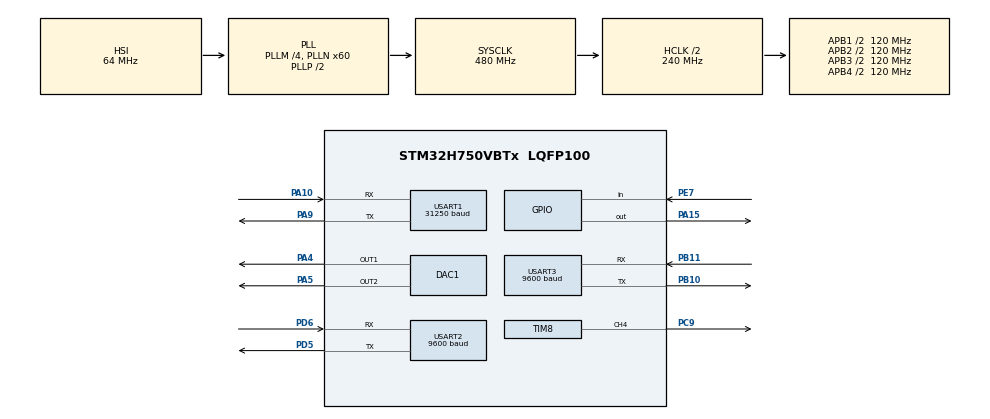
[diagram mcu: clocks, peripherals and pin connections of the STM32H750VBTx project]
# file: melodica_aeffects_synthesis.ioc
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CORTEX_M7.default_mode_Activation=1
DAC1.DAC_Channel-DAC_OUT1=DAC_CHANNEL_1
DAC1.DAC_Channel-DAC_OUT2=DAC_CHANNEL_2
DAC1.DAC_Trigger-DAC_OUT1=DAC_TRIGGER_T8_TRGO
DAC1.DAC_Trigger-DAC_OUT2=DAC_TRIGGER_T8_TRGO
Dma.DAC1_CH1.0.Direction=DMA_MEMORY_TO_PERIPH
Dma.DAC1_CH1.0.EventEnable=DISABLE
Dma.DAC1_CH1.0.FIFOMode=DMA_FIFOMODE_DISABLE
Dma.DAC1_CH1.0.Instance=DMA1_Stream0
Dma.DAC1_CH1.0.MemDataAlignment=DMA_MDATAALIGN_HALFWORD
Dma.DAC1_CH1.0.MemInc=DMA_MINC_ENABLE
Dma.DAC1_CH1.0.Mode=DMA_CIRCULAR
Dma.DAC1_CH1.0.PeriphDataAlignment=DMA_PDATAALIGN_HALFWORD
Dma.DAC1_CH1.0.PeriphInc=DMA_PINC_DISABLE
Dma.DAC1_CH1.0.Polarity=HAL_DMAMUX_REQ_GEN_RISING
Dma.DAC1_CH1.0.Priority=DMA_PRIORITY_HIGH
Dma.DAC1_CH1.0.RequestNumber=1
Dma.DAC1_CH1.0.SignalID=NONE
Dma.DAC1_CH1.0.SyncEnable=DISABLE
Dma.DAC1_CH1.0.SyncPolarity=HAL_DMAMUX_SYNC_NO_EVENT
Dma.DAC1_CH1.0.SyncRequestNumber=1
Dma.DAC1_CH1.0.SyncSignalID=NONE
Dma.DAC1_CH2.1.Direction=DMA_MEMORY_TO_PERIPH
Dma.DAC1_CH2.1.EventEnable=DISABLE
Dma.DAC1_CH2.1.FIFOMode=DMA_FIFOMODE_DISABLE
Dma.DAC1_CH2.1.Instance=DMA1_Stream1
Dma.DAC1_CH2.1.MemDataAlignment=DMA_MDATAALIGN_HALFWORD
Dma.DAC1_CH2.1.MemInc=DMA_MINC_ENABLE
Dma.DAC1_CH2.1.Mode=DMA_CIRCULAR
Dma.DAC1_CH2.1.PeriphDataAlignment=DMA_PDATAALIGN_HALFWORD
Dma.DAC1_CH2.1.PeriphInc=DMA_PINC_DISABLE
Dma.DAC1_CH2.1.Polarity=HAL_DMAMUX_REQ_GEN_RISING
Dma.DAC1_CH2.1.Priority=DMA_PRIORITY_HIGH
Dma.DAC1_CH2.1.RequestNumber=1
Dma.DAC1_CH2.1.SignalID=NONE
Dma.DAC1_CH2.1.SyncEnable=DISABLE
Dma.DAC1_CH2.1.SyncPolarity=HAL_DMAMUX_SYNC_NO_EVENT
Dma.DAC1_CH2.1.SyncRequestNumber=1
Dma.DAC1_CH2.1.SyncSignalID=NONE
Dma.Request0=DAC1_CH1
Dma.Request1=DAC1_CH2
Mcu.Family=STM32H7
Mcu.Name=STM32H750VBTx
Mcu.Package=LQFP100
NVIC.DMA1_Stream0_IRQn=true\:0\:0\:false\:false\:true\:false\:true\:true
NVIC.DMA1_Stream1_IRQn=true\:0\:0\:false\:false\:true\:false\:true\:true
NVIC.PriorityGroup=NVIC_PRIORITYGROUP_4
NVIC.USART1_IRQn=true\:5\:0\:true\:false\:true\:true\:true\:true
NVIC.USART2_IRQn=true\:5\:0\:true\:false\:true\:true\:true\:true
NVIC.USART3_IRQn=true\:5\:0\:true\:false\:true\:true\:true\:true
PA10.Mode=Asynchronous
PA10.Signal=USART1_RX
PA13\ (JTMS/SWDIO).Signal=DEBUG_JTMS-SWDIO
PA14\ (JTCK/SWCLK).Signal=DEBUG_JTCK-SWCLK
PA15\ (JTDI).Signal=GPIO_Output
PA4.Signal=COMP_DAC11_group
PA5.Signal=COMP_DAC12_group
PA9.Mode=Asynchronous
PA9.Signal=USART1_TX
PB10.Mode=Asynchronous
PB10.Signal=USART3_TX
PB11.Mode=Asynchronous
PB11.Signal=USART3_RX
PC9.Signal=S_TIM8_CH4
PD5.Mode=Asynchronous
PD5.Signal=USART2_TX
PD6.Mode=Asynchronous
PD6.Signal=USART2_RX
PE7.GPIO_PuPd=GPIO_PULLDOWN
PE7.Signal=GPIO_Input
ProjectManager.HeapSize=0x200
ProjectManager.StackSize=0x400
ProjectManager.TargetToolchain=STM32CubeIDE
RCC.ADCFreq_Value=129000000
RCC.APB1Freq_Value=120000000
RCC.APB2Freq_Value=120000000
RCC.APB3Freq_Value=120000000
RCC.APB4Freq_Value=120000000
RCC.CortexFreq_Value=480000000
RCC.D1PPRE=RCC_APB3_DIV2
RCC.D2PPRE1=RCC_APB1_DIV2
RCC.D2PPRE2=RCC_APB2_DIV2
RCC.D3PPRE=RCC_APB4_DIV2
RCC.DIVM1=4
RCC.DIVN1=60
RCC.HCLKFreq_Value=240000000
RCC.HPRE=RCC_HCLK_DIV2
RCC.PLL2FRACN=0
RCC.PLL3FRACN=0
RCC.PLLFRACN=0
RCC.SYSCLKFreq_VALUE=480000000
RCC.SYSCLKSource=RCC_SYSCLKSOURCE_PLLCLK
RCC.USBFreq_Value=480000000
SH.COMP_DAC11_group.0=DAC1_OUT1,DAC_OUT1
SH.COMP_DAC12_group.0=DAC1_OUT2,DAC_OUT2
SH.S_TIM8_CH4.0=TIM8_CH4,PWM Generation4 CH4
TIM8.Channel-PWM\ Generation4\ CH4=TIM_CHANNEL_4
TIM8.Period=5713
TIM8.TIM_MasterOutputTrigger=TIM_TRGO_UPDATE
USART1.BaudRate=31250
USART1.VirtualMode-Asynchronous=VM_ASYNC
USART2.BaudRate=9600
USART2.VirtualMode-Asynchronous=VM_ASYNC
USART3.BaudRate=9600
USART3.VirtualMode-Asynchronous=VM_ASYNC
VP_MEMORYMAP_VS_MEMORYMAP.Mode=CurAppReg
VP_TIM8_VS_ClockSourceINT.Mode=Internal
VREF+.Mode=InternalMode
VREF+.Signal=VREFBUF_OUT
board=custom

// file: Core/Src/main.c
/* USER CODE BEGIN Header */
/**
  ******************************************************************************
  * @file           : main.c
  * @brief          : Main program body
  ******************************************************************************
  * @attention
  *
  * Copyright (c) 2025 STMicroelectronics.
  * All rights reserved.
  *
  * This software is licensed under terms that can be found in the LICENSE file
  * in the root directory of this software component.
  * If no LICENSE file comes with this software, it is provided AS-IS.
  *
  ******************************************************************************
  */
/* USER CODE END Header */
#include "main.h"

/* USER CODE BEGIN Includes */
#include "audio.h"
#include "midi.h"
#include "controlstate.h"
#include "protocol.h"
#include "signal.h"
#include <stdlib.h>
/* USER CODE END Includes */

DAC_HandleTypeDef hdac1;
DMA_HandleTypeDef hdma_dac1_ch1;
DMA_HandleTypeDef hdma_dac1_ch2;

TIM_HandleTypeDef htim8;

UART_HandleTypeDef huart1;
UART_HandleTypeDef huart2;
UART_HandleTypeDef huart3;

void SystemClock_Config(void);
static void MPU_Config(void);
static void MX_GPIO_Init(void);
static void MX_DMA_Init(void);
static void MX_TIM8_Init(void);
static void MX_USART1_UART_Init(void);
static void MX_USART2_UART_Init(void);
static void MX_USART3_UART_Init(void);
static void MX_DAC1_Init(void);

/* USER CODE BEGIN 0 */

extern uint8_t midi_buffer;
void HAL_UART_RxCpltCallback(UART_HandleTypeDef *huart)
{
	// For MIDI:
    if (huart->Instance == USART1) { // Ensure this is USART1's interrupt
        // Restart UART reception to keep listening - this is important to do BEFORE processbyte because processbyte could start the synthesis and interrupts wont be enabled until event callback returns.
        HAL_UART_Receive_IT(&huart1, &midi_buffer, 1);

        MIDI_ProcessByte(midi_buffer); // Your custom MIDI parsing logic
    }

    // For Comms:
    if (huart->Instance == USART2) {
    	Next_ProcessByte();
    }

    if (huart->Instance == USART3) {
    	Prev_ProcessByte();

    }
}

/* USER CODE END 0 */

int main(void)
{

  /* MPU Configuration--------------------------------------------------------*/
  MPU_Config();

  /* MCU Configuration--------------------------------------------------------*/

  /* Reset of all peripherals, Initializes the Flash interface and the Systick. */
  HAL_Init();

  /* Configure the system clock */
  SystemClock_Config();

  /* Initialize all configured peripherals */
  MX_GPIO_Init();
  MX_DMA_Init();
  MX_TIM8_Init();
  MX_USART1_UART_Init();
  MX_USART2_UART_Init();
  MX_USART3_UART_Init();
  MX_DAC1_Init();
  /* USER CODE BEGIN 2 */
  MIDI_Init(&note_callbk);
  ProtocolInit();

  // For debugging: - good use in stm32f4xx_it.c it can be set to go high when hard fault occurs
	HAL_GPIO_WritePin(GPIOA, GPIO_PIN_15, 0);

  initialize_controlstate();
  audio_signal_init(&htim8, &hdac1);

  uint8_t* testbuffer = (uint8_t*) malloc(sizeof(uint8_t)*512);

  /* USER CODE END 2 */

  /* Infinite loop */
  /* USER CODE BEGIN WHILE */
  while (1)
  {
	  audio_signal_loop_tick();

	  if(HAL_GPIO_ReadPin(GPIOE, GPIO_PIN_7)) {
		  *((uint8_t*)testbuffer) = 0;
		  update_parameter(PARAMETER_ID_FILTER1_TYPE,0,testbuffer);
	  }
    /* USER CODE END WHILE */

  }
}

void SystemClock_Config(void)
{
  RCC_OscInitTypeDef RCC_OscInitStruct = {0};
  RCC_ClkInitTypeDef RCC_ClkInitStruct = {0};

  /** Supply configuration update enable
  */
  HAL_PWREx_ConfigSupply(PWR_LDO_SUPPLY);

  /** Configure the main internal regulator output voltage
  */
  __HAL_PWR_VOLTAGESCALING_CONFIG(PWR_REGULATOR_VOLTAGE_SCALE0);

  while(!__HAL_PWR_GET_FLAG(PWR_FLAG_VOSRDY)) {}

  /** Initializes the RCC Oscillators according to the specified parameters
  * in the RCC_OscInitTypeDef structure.
  */
  RCC_OscInitStruct.OscillatorType = RCC_OSCILLATORTYPE_HSI;
  RCC_OscInitStruct.HSIState = RCC_HSI_DIV1;
  RCC_OscInitStruct.HSICalibrationValue = RCC_HSICALIBRATION_DEFAULT;
  RCC_OscInitStruct.PLL.PLLState = RCC_PLL_ON;
  RCC_OscInitStruct.PLL.PLLSource = RCC_PLLSOURCE_HSI;
  RCC_OscInitStruct.PLL.PLLM = 4;
  RCC_OscInitStruct.PLL.PLLN = 60;
  RCC_OscInitStruct.PLL.PLLP = 2;
  RCC_OscInitStruct.PLL.PLLQ = 2;
  RCC_OscInitStruct.PLL.PLLR = 2;
  RCC_OscInitStruct.PLL.PLLRGE = RCC_PLL1VCIRANGE_3;
  RCC_OscInitStruct.PLL.PLLVCOSEL = RCC_PLL1VCOWIDE;
  RCC_OscInitStruct.PLL.PLLFRACN = 0;
  if (HAL_RCC_OscConfig(&RCC_OscInitStruct) != HAL_OK)
  {
    Error_Handler();
  }

  /** Initializes the CPU, AHB and APB buses clocks
  */
  RCC_ClkInitStruct.ClockType = RCC_CLOCKTYPE_HCLK|RCC_CLOCKTYPE_SYSCLK
                              |RCC_CLOCKTYPE_PCLK1|RCC_CLOCKTYPE_PCLK2
                              |RCC_CLOCKTYPE_D3PCLK1|RCC_CLOCKTYPE_D1PCLK1;
  RCC_ClkInitStruct.SYSCLKSource = RCC_SYSCLKSOURCE_PLLCLK;
  RCC_ClkInitStruct.SYSCLKDivider = RCC_SYSCLK_DIV1;
  RCC_ClkInitStruct.AHBCLKDivider = RCC_HCLK_DIV2;
  RCC_ClkInitStruct.APB3CLKDivider = RCC_APB3_DIV2;
  RCC_ClkInitStruct.APB1CLKDivider = RCC_APB1_DIV2;
  RCC_ClkInitStruct.APB2CLKDivider = RCC_APB2_DIV2;
  RCC_ClkInitStruct.APB4CLKDivider = RCC_APB4_DIV2;

  if (HAL_RCC_ClockConfig(&RCC_ClkInitStruct, FLASH_LATENCY_4) != HAL_OK)
  {
    Error_Handler();
  }
}

static void MX_DAC1_Init(void)
{

  DAC_ChannelConfTypeDef sConfig = {0};

  /** DAC Initialization
  */
  hdac1.Instance = DAC1;
  if (HAL_DAC_Init(&hdac1) != HAL_OK)
  {
    Error_Handler();
  }

  /** DAC channel OUT1 config
  */
  sConfig.DAC_SampleAndHold = DAC_SAMPLEANDHOLD_DISABLE;
  sConfig.DAC_Trigger = DAC_TRIGGER_T8_TRGO;
  sConfig.DAC_OutputBuffer = DAC_OUTPUTBUFFER_ENABLE;
  sConfig.DAC_ConnectOnChipPeripheral = DAC_CHIPCONNECT_DISABLE;
  sConfig.DAC_UserTrimming = DAC_TRIMMING_FACTORY;
  if (HAL_DAC_ConfigChannel(&hdac1, &sConfig, DAC_CHANNEL_1) != HAL_OK)
  {
    Error_Handler();
  }

  /** DAC channel OUT2 config
  */
  if (HAL_DAC_ConfigChannel(&hdac1, &sConfig, DAC_CHANNEL_2) != HAL_OK)
  {
    Error_Handler();
  }

}

static void MX_TIM8_Init(void)
{

  TIM_ClockConfigTypeDef sClockSourceConfig = {0};
  TIM_MasterConfigTypeDef sMasterConfig = {0};
  TIM_OC_InitTypeDef sConfigOC = {0};
  TIM_BreakDeadTimeConfigTypeDef sBreakDeadTimeConfig = {0};

  htim8.Instance = TIM8;
  htim8.Init.Prescaler = 0;
  htim8.Init.CounterMode = TIM_COUNTERMODE_UP;
  htim8.Init.Period = 5713;
  htim8.Init.ClockDivision = TIM_CLOCKDIVISION_DIV1;
  htim8.Init.RepetitionCounter = 0;
  htim8.Init.AutoReloadPreload = TIM_AUTORELOAD_PRELOAD_DISABLE;
  if (HAL_TIM_Base_Init(&htim8) != HAL_OK)
  {
    Error_Handler();
  }
  sClockSourceConfig.ClockSource = TIM_CLOCKSOURCE_INTERNAL;
  if (HAL_TIM_ConfigClockSource(&htim8, &sClockSourceConfig) != HAL_OK)
  {
    Error_Handler();
  }
  if (HAL_TIM_PWM_Init(&htim8) != HAL_OK)
  {
    Error_Handler();
  }
  sMasterConfig.MasterOutputTrigger = TIM_TRGO_UPDATE;
  sMasterConfig.MasterOutputTrigger2 = TIM_TRGO2_RESET;
  sMasterConfig.MasterSlaveMode = TIM_MASTERSLAVEMODE_DISABLE;
  if (HAL_TIMEx_MasterConfigSynchronization(&htim8, &sMasterConfig) != HAL_OK)
  {
    Error_Handler();
  }
  sConfigOC.OCMode = TIM_OCMODE_PWM1;
  sConfigOC.Pulse = 0;
  sConfigOC.OCPolarity = TIM_OCPOLARITY_HIGH;
  sConfigOC.OCFastMode = TIM_OCFAST_DISABLE;
  sConfigOC.OCIdleState = TIM_OCIDLESTATE_RESET;
  sConfigOC.OCNIdleState = TIM_OCNIDLESTATE_RESET;
  if (HAL_TIM_PWM_ConfigChannel(&htim8, &sConfigOC, TIM_CHANNEL_4) != HAL_OK)
  {
    Error_Handler();
  }
  sBreakDeadTimeConfig.OffStateRunMode = TIM_OSSR_DISABLE;
  sBreakDeadTimeConfig.OffStateIDLEMode = TIM_OSSI_DISABLE;
  sBreakDeadTimeConfig.LockLevel = TIM_LOCKLEVEL_OFF;
  sBreakDeadTimeConfig.DeadTime = 0;
  sBreakDeadTimeConfig.BreakState = TIM_BREAK_DISABLE;
  sBreakDeadTimeConfig.BreakPolarity = TIM_BREAKPOLARITY_HIGH;
  sBreakDeadTimeConfig.BreakFilter = 0;
  sBreakDeadTimeConfig.Break2State = TIM_BREAK2_DISABLE;
  sBreakDeadTimeConfig.Break2Polarity = TIM_BREAK2POLARITY_HIGH;
  sBreakDeadTimeConfig.Break2Filter = 0;
  sBreakDeadTimeConfig.AutomaticOutput = TIM_AUTOMATICOUTPUT_DISABLE;
  if (HAL_TIMEx_ConfigBreakDeadTime(&htim8, &sBreakDeadTimeConfig) != HAL_OK)
  {
    Error_Handler();
  }
  HAL_TIM_MspPostInit(&htim8);

}

static void MX_USART1_UART_Init(void)
{

  huart1.Instance = USART1;
  huart1.Init.BaudRate = 31250;
  huart1.Init.WordLength = UART_WORDLENGTH_8B;
  huart1.Init.StopBits = UART_STOPBITS_1;
  huart1.Init.Parity = UART_PARITY_NONE;
  huart1.Init.Mode = UART_MODE_TX_RX;
  huart1.Init.HwFlowCtl = UART_HWCONTROL_NONE;
  huart1.Init.OverSampling = UART_OVERSAMPLING_16;
  huart1.Init.OneBitSampling = UART_ONE_BIT_SAMPLE_DISABLE;
  huart1.Init.ClockPrescaler = UART_PRESCALER_DIV1;
  huart1.AdvancedInit.AdvFeatureInit = UART_ADVFEATURE_NO_INIT;
  if (HAL_UART_Init(&huart1) != HAL_OK)
  {
    Error_Handler();
  }
  if (HAL_UARTEx_SetTxFifoThreshold(&huart1, UART_TXFIFO_THRESHOLD_1_8) != HAL_OK)
  {
    Error_Handler();
  }
  if (HAL_UARTEx_SetRxFifoThreshold(&huart1, UART_RXFIFO_THRESHOLD_1_8) != HAL_OK)
  {
    Error_Handler();
  }
  if (HAL_UARTEx_DisableFifoMode(&huart1) != HAL_OK)
  {
    Error_Handler();
  }

}

static void MX_USART2_UART_Init(void)
{

  huart2.Instance = USART2;
  huart2.Init.BaudRate = 9600;
  huart2.Init.WordLength = UART_WORDLENGTH_8B;
  huart2.Init.StopBits = UART_STOPBITS_1;
  huart2.Init.Parity = UART_PARITY_NONE;
  huart2.Init.Mode = UART_MODE_TX_RX;
  huart2.Init.HwFlowCtl = UART_HWCONTROL_NONE;
  huart2.Init.OverSampling = UART_OVERSAMPLING_16;
  huart2.Init.OneBitSampling = UART_ONE_BIT_SAMPLE_DISABLE;
  huart2.Init.ClockPrescaler = UART_PRESCALER_DIV1;
  huart2.AdvancedInit.AdvFeatureInit = UART_ADVFEATURE_NO_INIT;
  if (HAL_UART_Init(&huart2) != HAL_OK)
  {
    Error_Handler();
  }
  if (HAL_UARTEx_SetTxFifoThreshold(&huart2, UART_TXFIFO_THRESHOLD_1_8) != HAL_OK)
  {
    Error_Handler();
  }
  if (HAL_UARTEx_SetRxFifoThreshold(&huart2, UART_RXFIFO_THRESHOLD_1_8) != HAL_OK)
  {
    Error_Handler();
  }
  if (HAL_UARTEx_DisableFifoMode(&huart2) != HAL_OK)
  {
    Error_Handler();
  }

}

static void MX_USART3_UART_Init(void)
{

  huart3.Instance = USART3;
  huart3.Init.BaudRate = 9600;
  huart3.Init.WordLength = UART_WORDLENGTH_8B;
  huart3.Init.StopBits = UART_STOPBITS_1;
  huart3.Init.Parity = UART_PARITY_NONE;
  huart3.Init.Mode = UART_MODE_TX_RX;
  huart3.Init.HwFlowCtl = UART_HWCONTROL_NONE;
  huart3.Init.OverSampling = UART_OVERSAMPLING_16;
  huart3.Init.OneBitSampling = UART_ONE_BIT_SAMPLE_DISABLE;
  huart3.Init.ClockPrescaler = UART_PRESCALER_DIV1;
  huart3.AdvancedInit.AdvFeatureInit = UART_ADVFEATURE_NO_INIT;
  if (HAL_UART_Init(&huart3) != HAL_OK)
  {
    Error_Handler();
  }
  if (HAL_UARTEx_SetTxFifoThreshold(&huart3, UART_TXFIFO_THRESHOLD_1_8) != HAL_OK)
  {
    Error_Handler();
  }
  if (HAL_UARTEx_SetRxFifoThreshold(&huart3, UART_RXFIFO_THRESHOLD_1_8) != HAL_OK)
  {
    Error_Handler();
  }
  if (HAL_UARTEx_DisableFifoMode(&huart3) != HAL_OK)
  {
    Error_Handler();
  }

}

static void MX_DMA_Init(void)
{

  /* DMA controller clock enable */
  __HAL_RCC_DMA1_CLK_ENABLE();

  /* DMA interrupt init */
  /* DMA1_Stream0_IRQn interrupt configuration */
  HAL_NVIC_SetPriority(DMA1_Stream0_IRQn, 0, 0);
  HAL_NVIC_EnableIRQ(DMA1_Stream0_IRQn);
  /* DMA1_Stream1_IRQn interrupt configuration */
  HAL_NVIC_SetPriority(DMA1_Stream1_IRQn, 0, 0);
  HAL_NVIC_EnableIRQ(DMA1_Stream1_IRQn);

}

static void MX_GPIO_Init(void)
{
  GPIO_InitTypeDef GPIO_InitStruct = {0};

  /* GPIO Ports Clock Enable */
  __HAL_RCC_GPIOA_CLK_ENABLE();
  __HAL_RCC_GPIOE_CLK_ENABLE();
  __HAL_RCC_GPIOB_CLK_ENABLE();
  __HAL_RCC_GPIOC_CLK_ENABLE();
  __HAL_RCC_GPIOD_CLK_ENABLE();

  /*Configure GPIO pin Output Level */
  HAL_GPIO_WritePin(GPIOA, GPIO_PIN_15, GPIO_PIN_RESET);

  /*Configure GPIO pin : PE7 */
  GPIO_InitStruct.Pin = GPIO_PIN_7;
  GPIO_InitStruct.Mode = GPIO_MODE_INPUT;
  GPIO_InitStruct.Pull = GPIO_PULLDOWN;
  HAL_GPIO_Init(GPIOE, &GPIO_InitStruct);

  /*Configure GPIO pin : PA15 */
  GPIO_InitStruct.Pin = GPIO_PIN_15;
  GPIO_InitStruct.Mode = GPIO_MODE_OUTPUT_PP;
  GPIO_InitStruct.Pull = GPIO_NOPULL;
  GPIO_InitStruct.Speed = GPIO_SPEED_FREQ_LOW;
  HAL_GPIO_Init(GPIOA, &GPIO_InitStruct);

}

 /* MPU Configuration */

void MPU_Config(void)
{
  MPU_Region_InitTypeDef MPU_InitStruct = {0};

  /* Disables the MPU */
  HAL_MPU_Disable();

  /** Initializes and configures the Region and the memory to be protected
  */
  MPU_InitStruct.Enable = MPU_REGION_ENABLE;
  MPU_InitStruct.Number = MPU_REGION_NUMBER0;
  MPU_InitStruct.BaseAddress = 0x0;
  MPU_InitStruct.Size = MPU_REGION_SIZE_4GB;
  MPU_InitStruct.SubRegionDisable = 0x87;
  MPU_InitStruct.TypeExtField = MPU_TEX_LEVEL0;
  MPU_InitStruct.AccessPermission = MPU_REGION_NO_ACCESS;
  MPU_InitStruct.DisableExec = MPU_INSTRUCTION_ACCESS_DISABLE;
  MPU_InitStruct.IsShareable = MPU_ACCESS_SHAREABLE;
  MPU_InitStruct.IsCacheable = MPU_ACCESS_NOT_CACHEABLE;
  MPU_InitStruct.IsBufferable = MPU_ACCESS_NOT_BUFFERABLE;

  HAL_MPU_ConfigRegion(&MPU_InitStruct);
  /* Enables the MPU */
  HAL_MPU_Enable(MPU_PRIVILEGED_DEFAULT);

}

void Error_Handler(void)
{
  __disable_irq();
  while (1)
  {
  }
}
